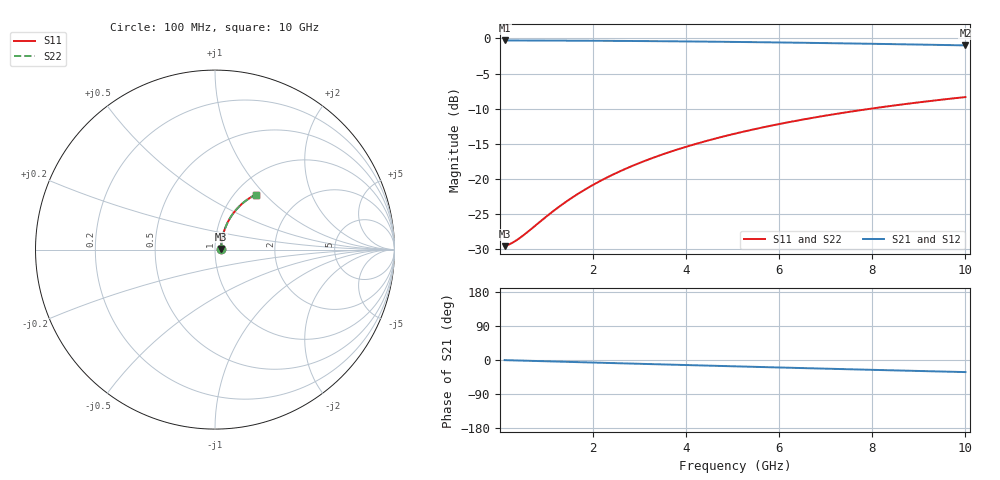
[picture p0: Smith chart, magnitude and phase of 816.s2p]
# Hz S RI R 50.00
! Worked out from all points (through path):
!   100 points, 100 MHz to 10 GHz, reference 50 ohm
!   highest |S21| = -0.29 dB at 100 MHz (marker M1); lowest = -1.0 dB at 10 GHz (marker M2)
!   group delay of S21, straight-line fit = 8.89 ps
!   lowest |S11| = -29.5 dB at 100 MHz (marker M3), VSWR 1.07, Z = 53.4 + j0.433 ohm
!   |S11| at or under -10 dB: start of sweep to 7.956 GHz
!   |S22| runs from -29.5 to -8.3 dB; largest |S21 - S12| = 0
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1e8  0.0331 0.00404  0.9669 -0.00567  0.9669 -0.00567  0.0331 0.00404
2e8  0.0334 0.00808  0.9666 -0.0113  0.9666 -0.0113  0.0334 0.00808
3e8  0.0337 0.0121  0.9663 -0.017  0.9663 -0.017  0.0337 0.0121
4e8  0.034 0.0162  0.966 -0.0226  0.966 -0.0226  0.034 0.0162
6e8  0.0347 0.0242  0.9653 -0.0339  0.9653 -0.0339  0.0347 0.0242
1e9  0.0365 0.0402  0.9634 -0.0565  0.9634 -0.0565  0.0365 0.0402
1.2e9  0.0376 0.0482  0.9622 -0.0677  0.9622 -0.0677  0.0376 0.0482
1.5e9  0.0397 0.0601  0.96 -0.0845  0.96 -0.0845  0.0397 0.0601
1.8e9  0.0421 0.0719  0.9574 -0.1011  0.9574 -0.1011  0.0421 0.0719
2.1e9  0.045 0.0836  0.9544 -0.1177  0.9544 -0.1177  0.045 0.0836
2.5e9  0.0494 0.0989  0.9497 -0.1396  0.9497 -0.1396  0.0494 0.0989
2.9e9  0.0545 0.114  0.9444 -0.1612  0.9444 -0.1612  0.0545 0.114
3.4e9  0.0617 0.1324  0.9367 -0.1878  0.9367 -0.1878  0.0617 0.1324
3.8e9  0.0683 0.1468  0.9297 -0.2087  0.9297 -0.2087  0.0683 0.1468
4.2e9  0.0754 0.1608  0.9221 -0.2292  0.9221 -0.2292  0.0754 0.1608
4.6e9  0.0831 0.1743  0.9139 -0.2493  0.9139 -0.2493  0.0831 0.1743
5.1e9  0.0936 0.1906  0.9028 -0.2738  0.9028 -0.2738  0.0936 0.1906
5.9e9  0.112 0.2152  0.8832 -0.3115  0.8832 -0.3115  0.112 0.2152
6.7e9  0.1321 0.2377  0.8617 -0.3472  0.8617 -0.3472  0.1321 0.2377
7.5e9  0.1539 0.2581  0.8384 -0.3807  0.8384 -0.3807  0.1539 0.2581
8.4e9  0.1798 0.2783  0.8104 -0.4158  0.8104 -0.4158  0.1798 0.2783
1e10  0.2288 0.307  0.7573 -0.4712  0.7573 -0.4712  0.2288 0.307
